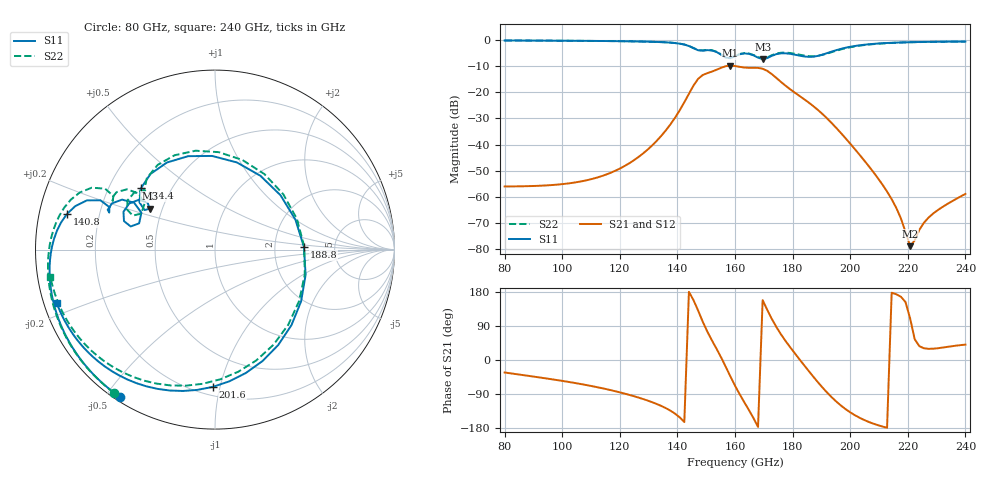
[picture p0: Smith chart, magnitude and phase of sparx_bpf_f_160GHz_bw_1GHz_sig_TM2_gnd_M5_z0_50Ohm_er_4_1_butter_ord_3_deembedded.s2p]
! Created with skrf 2.0.1 (http://scikit-rf.org).
# GHz S DB R 50.0
!freq dBS11 angS11 dBS21 angS21 dBS12 angS12 dBS22 angS22
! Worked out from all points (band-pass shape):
!   101 points, 80 GHz to 240 GHz, reference 50 ohm
!   highest |S21| = -9.82 dB at 158.4 GHz (marker M1); lowest = -78.9 dB at 220.8 GHz (marker M2)
!   |S21| within 3 dB of the highest: 150.1 GHz to 172.5 GHz (22.33 GHz wide, 13.8 % of centre)
!   lowest |S11| = -7.3 dB at 169.6 GHz (marker M3), VSWR 2.51, Z = 21.3 + j12 ohm
!   |S11| at or under -10 dB: nowhere
!   |S22| runs from -7.1 to -0.2 dB; largest |S21 - S12| = 3.2e-12
!   S11 on the Smith chart (normalised r, x): 80 GHz: 0.02, -0.54; 140.8 GHz: 0.08, +0.12; 174.4 GHz: 0.34, +0.32; 188.8 GHz: 2.96, +0.12; 201.6 GHz: 0.26, -0.95; 240 GHz: 0.04, -0.17
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80  -0.21 -122.8  -56.03 -33.0  -56.03 -33.0  -0.21 -125.3
107.2  -0.36 -149.7  -53.96 -64.4  -53.96 -64.4  -0.36 -153.7
121.6  -0.51 -164.6  -48.26 -88.5  -48.26 -88.5  -0.51 -169.4
134.4  -0.84 178.7  -36.68 -121.2  -36.68 -121.2  -0.84 173.3
140.8  -1.43 166.5  -26.91 -151.4  -26.91 -151.4  -1.41 160.9
147.2  -3.96 158.1  -14.88 130.3  -14.88 130.3  -3.87 152.2
150.4  -3.91 159.7  -12.69 74.8  -12.69 74.8  -3.83 153.4
155.2  -5.66 149.9  -10.64 6.5  -10.64 6.5  -5.52 143.7
158.4  -6.99 160.9  -9.82 -43.4  -9.82 -43.4  -6.80 154.0
160  -6.24 164.7  -9.97 -67.7  -9.97 -67.7  -6.10 157.5
166.4  -5.90 146.8  -10.67 -153.2  -10.67 -153.2  -5.73 140.1
169.6  -7.34 147.8  -11.02 158.0  -11.02 158.0  -7.07 140.9
174.4  -5.42 140.5  -14.58 86.6  -14.58 86.6  -5.19 133.7
180.8  -5.65 91.8  -20.18 17.3  -20.18 17.3  -5.30 87.8
187.2  -6.41 20.5  -25.32 -44.1  -25.32 -44.1  -6.24 20.7
188.8  -6.10 1.8  -26.78 -58.7  -26.78 -58.7  -6.07 2.2
195.2  -3.90 -56.5  -33.69 -109.9  -33.69 -109.9  -4.12 -58.4
201.6  -2.33 -90.9  -41.73 -145.6  -41.73 -145.6  -2.49 -95.3
214.4  -1.10 -127.3  -60.90 177.6  -60.90 177.6  -1.16 -134.4
220.8  -0.87 -138.4  -78.86 109.9  -78.86 109.9  -0.91 -146.3
227.2  -0.74 -147.2  -67.94 29.5  -67.94 29.5  -0.77 -155.7
240  -0.62 -161.2  -58.88 40.6  -58.88 40.6  -0.63 -170.6
